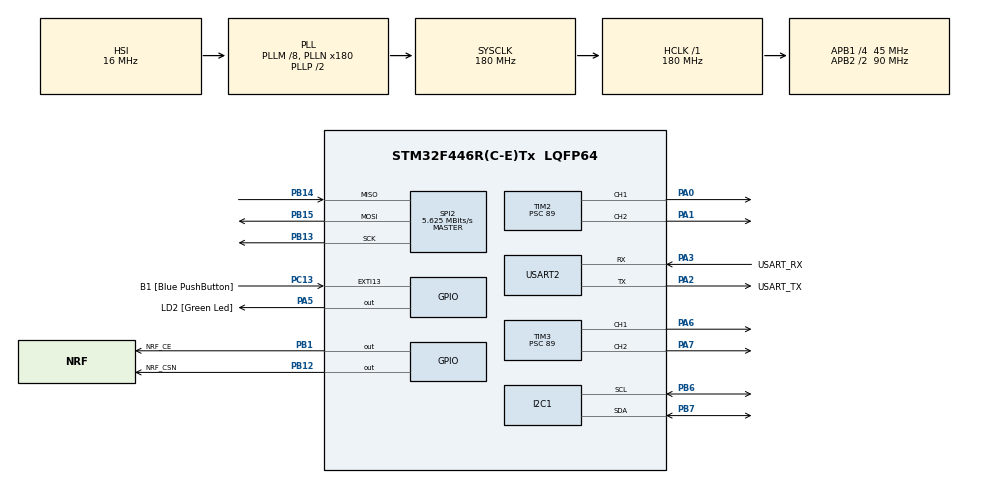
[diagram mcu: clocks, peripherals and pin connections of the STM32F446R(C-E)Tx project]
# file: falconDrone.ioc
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Dma.I2C1_RX.0.Direction=DMA_PERIPH_TO_MEMORY
Dma.I2C1_RX.0.FIFOMode=DMA_FIFOMODE_DISABLE
Dma.I2C1_RX.0.Instance=DMA1_Stream0
Dma.I2C1_RX.0.MemDataAlignment=DMA_MDATAALIGN_BYTE
Dma.I2C1_RX.0.MemInc=DMA_MINC_ENABLE
Dma.I2C1_RX.0.Mode=DMA_NORMAL
Dma.I2C1_RX.0.PeriphDataAlignment=DMA_PDATAALIGN_BYTE
Dma.I2C1_RX.0.PeriphInc=DMA_PINC_DISABLE
Dma.I2C1_RX.0.Priority=DMA_PRIORITY_HIGH
Dma.I2C1_TX.1.Direction=DMA_MEMORY_TO_PERIPH
Dma.I2C1_TX.1.FIFOMode=DMA_FIFOMODE_DISABLE
Dma.I2C1_TX.1.Instance=DMA1_Stream7
Dma.I2C1_TX.1.MemDataAlignment=DMA_MDATAALIGN_BYTE
Dma.I2C1_TX.1.MemInc=DMA_MINC_ENABLE
Dma.I2C1_TX.1.Mode=DMA_NORMAL
Dma.I2C1_TX.1.PeriphDataAlignment=DMA_PDATAALIGN_BYTE
Dma.I2C1_TX.1.PeriphInc=DMA_PINC_DISABLE
Dma.I2C1_TX.1.Priority=DMA_PRIORITY_HIGH
Dma.Request0=I2C1_RX
Dma.Request1=I2C1_TX
Dma.Request2=USART2_TX
Dma.USART2_TX.2.Direction=DMA_MEMORY_TO_PERIPH
Dma.USART2_TX.2.FIFOMode=DMA_FIFOMODE_DISABLE
Dma.USART2_TX.2.Instance=DMA1_Stream6
Dma.USART2_TX.2.MemDataAlignment=DMA_MDATAALIGN_BYTE
Dma.USART2_TX.2.MemInc=DMA_MINC_ENABLE
Dma.USART2_TX.2.Mode=DMA_NORMAL
Dma.USART2_TX.2.PeriphDataAlignment=DMA_PDATAALIGN_BYTE
Dma.USART2_TX.2.PeriphInc=DMA_PINC_DISABLE
Dma.USART2_TX.2.Priority=DMA_PRIORITY_LOW
FREERTOS.BinarySemaphores01=txCompleteSem,Dynamic,NULL,Available
FREERTOS.Queues01=logQueue,16,LogMessage_t,1,Dynamic,NULL,NULL
FREERTOS.Tasks01=defaultTask,24,256,StartDefaultTask,Default,NULL,Dynamic,NULL,NULL;IMUTask,48,512,StartIMUTask,Default,NULL,Dynamic,NULL,NULL;LogTask,8,256,StartLogTask,Default,NULL,Dynamic,NULL,NULL;ControlTask,40,768,StartControlTask,Default,NULL,Dynamic,NULL,NULL
FREERTOS.configENABLE_FPU=1
I2C1.I2C_Mode=I2C_Fast
Mcu.Family=STM32F4
Mcu.Name=STM32F446R(C-E)Tx
Mcu.Package=LQFP64
NVIC.DMA1_Stream0_IRQn=true\:5\:0\:false\:false\:true\:true\:false\:true\:true
NVIC.DMA1_Stream6_IRQn=true\:5\:0\:false\:false\:true\:true\:false\:true\:true
NVIC.DMA1_Stream7_IRQn=true\:5\:0\:false\:false\:true\:true\:false\:true\:true
NVIC.I2C1_ER_IRQn=true\:5\:0\:false\:false\:true\:true\:true\:true\:true
NVIC.I2C1_EV_IRQn=true\:5\:0\:false\:false\:true\:true\:true\:true\:true
NVIC.PriorityGroup=NVIC_PRIORITYGROUP_4
NVIC.TIM1_UP_TIM10_IRQn=true\:15\:0\:false\:false\:true\:false\:false\:true\:true
NVIC.TIM2_IRQn=true\:5\:0\:false\:false\:true\:true\:true\:true\:true
NVIC.TIM3_IRQn=true\:5\:0\:false\:false\:true\:true\:true\:true\:true
NVIC.TimeBase=TIM1_UP_TIM10_IRQn
NVIC.TimeBaseIP=TIM10
NVIC.USART2_IRQn=true\:5\:0\:false\:false\:true\:true\:true\:true\:true
PA0-WKUP.Signal=S_TIM2_CH1_ETR
PA1.Signal=S_TIM2_CH2
PA13.GPIO_Label=TMS
PA13.Mode=Serial_Wire
PA13.Signal=SYS_JTMS-SWDIO
PA14.GPIO_Label=TCK
PA14.Mode=Serial_Wire
PA14.Signal=SYS_JTCK-SWCLK
PA2.GPIO_Label=USART_TX
PA2.Mode=Asynchronous
PA2.Signal=USART2_TX
PA3.GPIO_Label=USART_RX
PA3.Mode=Asynchronous
PA3.Signal=USART2_RX
PA5.GPIO_Label=LD2 [Green Led]
PA5.Signal=GPIO_Output
PA6.Signal=S_TIM3_CH1
PA7.Signal=S_TIM3_CH2
PB1.GPIO_Label=NRF_CE
PB1.Signal=GPIO_Output
PB12.GPIO_Label=NRF_CSN
PB12.PinState=GPIO_PIN_SET
PB12.Signal=GPIO_Output
PB13.Mode=Full_Duplex_Master
PB13.Signal=SPI2_SCK
PB14.Mode=Full_Duplex_Master
PB14.Signal=SPI2_MISO
PB15.Mode=Full_Duplex_Master
PB15.Signal=SPI2_MOSI
PB3.GPIO_Label=SWO
PB3.Signal=SYS_JTDO-SWO
PB6.Mode=I2C
PB6.Signal=I2C1_SCL
PB7.Mode=I2C
PB7.Signal=I2C1_SDA
PC13.GPIO_Label=B1 [Blue PushButton]
PC13.GPIO_ModeDefaultEXTI=GPIO_MODE_IT_FALLING
PC13.Signal=GPXTI13
PC14-OSC32_IN.Mode=LSE-External-Oscillator
PC14-OSC32_IN.Signal=RCC_OSC32_IN
PC15-OSC32_OUT.Mode=LSE-External-Oscillator
PC15-OSC32_OUT.Signal=RCC_OSC32_OUT
PH0-OSC_IN.Mode=HSE-External-Oscillator
PH0-OSC_IN.Signal=RCC_OSC_IN
PH1-OSC_OUT.Mode=HSE-External-Oscillator
PH1-OSC_OUT.Signal=RCC_OSC_OUT
ProjectManager.HeapSize=0x200
ProjectManager.StackSize=0x400
ProjectManager.TargetToolchain=CMake
RCC.48MHZClocksFreq_Value=84000000
RCC.AHBFreq_Value=180000000
RCC.APB1CLKDivider=RCC_HCLK_DIV4
RCC.APB1Freq_Value=45000000
RCC.APB1TimFreq_Value=90000000
RCC.APB2CLKDivider=RCC_HCLK_DIV2
RCC.APB2Freq_Value=90000000
RCC.APB2TimFreq_Value=180000000
RCC.CortexFreq_Value=180000000
RCC.FLatency-AdvancedSettings=FLASH_LATENCY_5
RCC.HCLKFreq_Value=180000000
RCC.HSE_VALUE=8000000
RCC.HSI_VALUE=16000000
RCC.PLLM=8
RCC.PLLN=180
RCC.SYSCLKFreq_VALUE=180000000
RCC.SYSCLKSource=RCC_SYSCLKSOURCE_PLLCLK
RCC.USBFreq_Value=180000000
RCC.VCOOutputFreq_Value=360000000
SH.S_TIM2_CH1_ETR.0=TIM2_CH1,PWM Generation1 CH1
SH.S_TIM2_CH2.0=TIM2_CH2,PWM Generation2 CH2
SH.S_TIM3_CH1.0=TIM3_CH1,PWM Generation1 CH1
SH.S_TIM3_CH2.0=TIM3_CH2,PWM Generation2 CH2
SPI2.BaudRatePrescaler=SPI_BAUDRATEPRESCALER_8
SPI2.CalculateBaudRate=5.625 MBits/s
SPI2.Direction=SPI_DIRECTION_2LINES
SPI2.Mode=SPI_MODE_MASTER
SPI2.VirtualType=VM_MASTER
TIM2.Channel-PWM\ Generation1\ CH1=TIM_CHANNEL_1
TIM2.Channel-PWM\ Generation2\ CH2=TIM_CHANNEL_2
TIM2.Period=2499
TIM2.Prescaler=89
TIM3.Channel-PWM\ Generation1\ CH1=TIM_CHANNEL_1
TIM3.Channel-PWM\ Generation2\ CH2=TIM_CHANNEL_2
TIM3.Period=2499
TIM3.Prescaler=89
USART2.VirtualMode=VM_ASYNC
VP_FREERTOS_VS_CMSIS_V2.Mode=CMSIS_V2
VP_SYS_VS_tim10.Mode=TIM10
VP_TIM2_VS_ClockSourceINT.Mode=Internal
VP_TIM3_VS_ClockSourceINT.Mode=Internal
board=NUCLEO-F446RE

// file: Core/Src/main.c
/* USER CODE BEGIN Header */
/**
  ******************************************************************************
  * @file           : main.c
  * @brief          : Main program body
  ******************************************************************************
  * @attention
  *
  * Copyright (c) 2026 STMicroelectronics.
  * All rights reserved.
  *
  * This software is licensed under terms that can be found in the LICENSE file
  * in the root directory of this software component.
  * If no LICENSE file comes with this software, it is provided AS-IS.
  *
  ******************************************************************************
  */
/* USER CODE END Header */
#include "main.h"
#include "cmsis_os.h"
#include "dma.h"
#include "i2c.h"
#include "spi.h"
#include "tim.h"
#include "usart.h"
#include "gpio.h"

/* USER CODE BEGIN Includes */
#include "cmsis_os2.h"
/* USER CODE END Includes */

void SystemClock_Config(void);
void MX_FREERTOS_Init(void);

/* USER CODE BEGIN 0 */
#include <stdio.h>
#include "usart.h"
#include "logger.h"
#include "uart_cmd.h"
#include "imu_service.h"
#include "reset_info.h"
#include "watchdog.h"

/* One-byte USART2 RX buffer for PC commands (re-armed after every byte). */
static uint8_t s_uart_rx_byte;

/* Keep blocking _write for startup messages only */
int _write(int file, char *ptr, int len) {
    HAL_UART_Transmit(&huart2, (uint8_t*)ptr, len, HAL_MAX_DELAY);
    return len;
}

/**
 * @brief UART TX Complete Callback - signals logger that DMA finished.
 */
void HAL_UART_TxCpltCallback(UART_HandleTypeDef *huart) {
    if (huart->Instance == USART2) {
        Log_TxComplete();
    }
}

/**
 * @brief UART RX Complete Callback - PC commands from telemetry.py.
 *
 * Bytes go to uart_cmd.c: 'd' / ' ' disarm at once, '$...\n' lines are
 * parsed later in ControlTask. Arming is deliberately NOT possible from the
 * PC — it needs the physical B1 hold.
 */
void HAL_UART_RxCpltCallback(UART_HandleTypeDef *huart) {
    if (huart->Instance == USART2) {
        UartCmd_OnRxByte(s_uart_rx_byte);
        HAL_UART_Receive_IT(&huart2, &s_uart_rx_byte, 1);
    }
}

/**
 * @brief UART Error Callback - an overrun/framing error aborts the RX
 *        transfer, so restart it or PC commands would stop working.
 */
void HAL_UART_ErrorCallback(UART_HandleTypeDef *huart) {
    if (huart->Instance == USART2 && huart->RxState == HAL_UART_STATE_READY) {
        HAL_UART_Receive_IT(&huart2, &s_uart_rx_byte, 1);
    }
}

void HAL_I2C_MemRxCpltCallback(I2C_HandleTypeDef *hi2c) {
    imuOnI2cRxComplete(hi2c);
}

/**
 * @brief I2C Error Callback — the IMU service discards the read and recovers.
 */
void HAL_I2C_ErrorCallback(I2C_HandleTypeDef *hi2c) {
    imuOnI2cError(hi2c);
}
/* USER CODE END 0 */

int main(void)
{

  /* USER CODE BEGIN 1 */
  /* Before anything can clear the RCC reset flags. */
  ResetInfo_Capture();

  /* USER CODE END 1 */

  /* MCU Configuration--------------------------------------------------------*/

  /* Reset of all peripherals, Initializes the Flash interface and the Systick. */
  HAL_Init();

  /* Configure the system clock */
  SystemClock_Config();

  /* USER CODE BEGIN SysInit */
  ResetInfo_EnsureBrownoutLevel();

  /* USER CODE END SysInit */

  /* Initialize all configured peripherals */
  MX_GPIO_Init();
  MX_DMA_Init();
  MX_I2C1_Init();
  MX_TIM2_Init();
  MX_TIM3_Init();
  MX_USART2_UART_Init();
  MX_SPI2_Init();
  /* USER CODE BEGIN 2 */
  HAL_UART_Receive_IT(&huart2, &s_uart_rx_byte, 1);
  /* USER CODE END 2 */

  /* Init scheduler */
  osKernelInitialize();  /* Call init function for freertos objects (in cmsis_os2.c) */
  MX_FREERTOS_Init();

  /* Start scheduler */
  osKernelStart();

  /* We should never get here as control is now taken by the scheduler */

  /* Infinite loop */
  while (1)
  {

  }
}

void SystemClock_Config(void)
{
  RCC_OscInitTypeDef RCC_OscInitStruct = {0};
  RCC_ClkInitTypeDef RCC_ClkInitStruct = {0};

  /** Configure the main internal regulator output voltage
  */
  __HAL_RCC_PWR_CLK_ENABLE();
  __HAL_PWR_VOLTAGESCALING_CONFIG(PWR_REGULATOR_VOLTAGE_SCALE1);

  /** Initializes the RCC Oscillators according to the specified parameters
  * in the RCC_OscInitTypeDef structure.
  */
  RCC_OscInitStruct.OscillatorType = RCC_OSCILLATORTYPE_HSI;
  RCC_OscInitStruct.HSIState = RCC_HSI_ON;
  RCC_OscInitStruct.HSICalibrationValue = RCC_HSICALIBRATION_DEFAULT;
  RCC_OscInitStruct.PLL.PLLState = RCC_PLL_ON;
  RCC_OscInitStruct.PLL.PLLSource = RCC_PLLSOURCE_HSI;
  RCC_OscInitStruct.PLL.PLLM = 8;
  RCC_OscInitStruct.PLL.PLLN = 180;
  RCC_OscInitStruct.PLL.PLLP = RCC_PLLP_DIV2;
  RCC_OscInitStruct.PLL.PLLQ = 2;
  RCC_OscInitStruct.PLL.PLLR = 2;
  if (HAL_RCC_OscConfig(&RCC_OscInitStruct) != HAL_OK)
  {
    Error_Handler();
  }

  /** Activate the Over-Drive mode
  */
  if (HAL_PWREx_EnableOverDrive() != HAL_OK)
  {
    Error_Handler();
  }

  /** Initializes the CPU, AHB and APB buses clocks
  */
  RCC_ClkInitStruct.ClockType = RCC_CLOCKTYPE_HCLK|RCC_CLOCKTYPE_SYSCLK
                              |RCC_CLOCKTYPE_PCLK1|RCC_CLOCKTYPE_PCLK2;
  RCC_ClkInitStruct.SYSCLKSource = RCC_SYSCLKSOURCE_PLLCLK;
  RCC_ClkInitStruct.AHBCLKDivider = RCC_SYSCLK_DIV1;
  RCC_ClkInitStruct.APB1CLKDivider = RCC_HCLK_DIV4;
  RCC_ClkInitStruct.APB2CLKDivider = RCC_HCLK_DIV2;

  if (HAL_RCC_ClockConfig(&RCC_ClkInitStruct, FLASH_LATENCY_5) != HAL_OK)
  {
    Error_Handler();
  }
}

void HAL_TIM_PeriodElapsedCallback(TIM_HandleTypeDef *htim)
{
  if (htim->Instance == TIM10)
  {
    HAL_IncTick();
  }
}

void Error_Handler(void)
{
  __disable_irq();
  while (1)
  {
  }
}

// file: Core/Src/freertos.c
/* USER CODE BEGIN Header */
/**
  ******************************************************************************
  * File Name          : freertos.c
  * Description        : Code for freertos applications
  ******************************************************************************
  * @attention
  *
  * Copyright (c) 2026 STMicroelectronics.
  * All rights reserved.
  *
  * This software is licensed under terms that can be found in the LICENSE file
  * in the root directory of this software component.
  * If no LICENSE file comes with this software, it is provided AS-IS.
  *
  ******************************************************************************
  */
/* USER CODE END Header */

#include "FreeRTOS.h"
#include "task.h"
#include "main.h"
#include "cmsis_os.h"

/* USER CODE BEGIN Includes */
#include "imu_service.h"
#include "i2c.h"
#include "logger.h"
#include "pwm_esc.h"
#include "flight_ctrl.h"
#include "flight_input.h"
#include "uart_cmd.h"
#include "arming.h"
#include "rc_service.h"
#include "tuning.h"
#include "flight_cfg.h"
#include "watchdog.h"
#include "reset_info.h"
#include "gpio.h"
/* USER CODE END Includes */

/* Definitions for defaultTask */
osThreadId_t defaultTaskHandle;
const osThreadAttr_t defaultTask_attributes = {
  .name = "defaultTask",
  .stack_size = 256 * 4,
  .priority = (osPriority_t) osPriorityNormal,
};
/* Definitions for IMUTask */
osThreadId_t IMUTaskHandle;
const osThreadAttr_t IMUTask_attributes = {
  .name = "IMUTask",
  .stack_size = 512 * 4,
  .priority = (osPriority_t) osPriorityRealtime,
};
/* Definitions for LogTask */
osThreadId_t LogTaskHandle;
const osThreadAttr_t LogTask_attributes = {
  .name = "LogTask",
  .stack_size = 256 * 4,
  .priority = (osPriority_t) osPriorityLow,
};
/* Definitions for ControlTask */
osThreadId_t ControlTaskHandle;
const osThreadAttr_t ControlTask_attributes = {
  .name = "ControlTask",
  .stack_size = 768 * 4,
  .priority = (osPriority_t) osPriorityHigh,
};
/* Definitions for logQueue */
osMessageQueueId_t logQueueHandle;
const osMessageQueueAttr_t logQueue_attributes = {
  .name = "logQueue"
};
/* Definitions for txCompleteSem */
osSemaphoreId_t txCompleteSemHandle;
const osSemaphoreAttr_t txCompleteSem_attributes = {
  .name = "txCompleteSem"
};

/* USER CODE BEGIN FunctionPrototypes */
static void ControlTask_Run(void);
/* USER CODE END FunctionPrototypes */

void StartDefaultTask(void *argument);
void StartIMUTask(void *argument);
void StartLogTask(void *argument);
void StartControlTask(void *argument);

void MX_FREERTOS_Init(void); /* (MISRA C 2004 rule 8.1) */

void MX_FREERTOS_Init(void) {

  /* Create the semaphores(s) */
  /* creation of txCompleteSem */
  txCompleteSemHandle = osSemaphoreNew(1, 1, &txCompleteSem_attributes);

  /* USER CODE BEGIN RTOS_SEMAPHORES */
  /* IMU service owns its DMA semaphore and sample mailbox. Created here so
   * they exist before any task can touch them. */
  imuCreate(&hi2c1);
  /* USER CODE END RTOS_SEMAPHORES */

  /* Create the queue(s) */
  /* creation of logQueue */
  logQueueHandle = osMessageQueueNew (16, sizeof(LogMessage_t), &logQueue_attributes);

  /* Create the thread(s) */
  /* creation of defaultTask */
  defaultTaskHandle = osThreadNew(StartDefaultTask, NULL, &defaultTask_attributes);

  /* creation of IMUTask */
  IMUTaskHandle = osThreadNew(StartIMUTask, NULL, &IMUTask_attributes);

  /* creation of LogTask */
  LogTaskHandle = osThreadNew(StartLogTask, NULL, &LogTask_attributes);

  /* creation of ControlTask */
  ControlTaskHandle = osThreadNew(StartControlTask, NULL, &ControlTask_attributes);

}

void StartDefaultTask(void *argument)
{
  /* USER CODE BEGIN StartDefaultTask */
  ResetInfo_Report();

  /* Watchdog supervisor + LD2 heartbeat (doubles as the arm-state
   * indicator: slow = DISARMED, medium = ARMING, fast = ARMED).
   * Runs at Normal priority, below IMU and Control, so if either of them
   * hogs the CPU this loop starves and the IWDG fires. */
  uint32_t last_toggle = osKernelGetTickCount();
  for(;;)
  {
    const uint32_t now = osKernelGetTickCount();
    Watchdog_Supervise(now);

    uint32_t blink_ms;
    switch (Arming_GetState()) {
    case ARM_STATE_ARMED:  blink_ms = 100;  break;
    case ARM_STATE_ARMING: blink_ms = 250;  break;
    default:               blink_ms = 1000; break;
    }
    if (now - last_toggle >= blink_ms) {
      HAL_GPIO_TogglePin(LD2_GPIO_Port, LD2_Pin);
      last_toggle = now;
    }

    osDelay(WATCHDOG_SUPERVISE_PERIOD_MS);
  }
  /* USER CODE END StartDefaultTask */
}

void StartIMUTask(void *argument)
{
  /* USER CODE BEGIN StartIMUTask */

  /* Fixed 100 Hz read / fuse / publish loop — never returns. */
  imuTaskRun();
  /* USER CODE END StartIMUTask */
}

void StartLogTask(void *argument)
{
  /* USER CODE BEGIN StartLogTask */
  /* Infinite loop */
  for(;;)
  {
    Log_ProcessQueue();
  }
  /* USER CODE END StartLogTask */
}

void StartControlTask(void *argument)
{
  /* USER CODE BEGIN StartControlTask */

  /* Attitude control loop (below) — never returns. */
  ControlTask_Run();
  /* USER CODE END StartControlTask */
}

/* USER CODE BEGIN Application */

/*
 * ControlTask — cascaded attitude controller (flight_ctrl.c).
 *
 * Synchronous with the IMU: blocks on the IMU mailbox, runs once per
 * fresh sample. 100 Hz (IMU_PERIOD_MS).
 *
 * Pipeline each tick:
 *   1. Wait for the next IMU sample (by-value copy from the mailbox)
 *   2. dt from the sample timestamps (exact multiples of IMU_PERIOD_MS)
 *   3. Radio (rc_service.c) — newest controller packet, link state
 *   4. Arming state machine (arming.c) — controller ARM switch / B1 / PC /
 *      failsafes; the controller's mode switch while disarmed
 *   5. PC line commands (uart_cmd.c) — throttle, mode, gains, trim
 *   6. If ARMED: pilot input (radio, or $t from the PC when no radio) →
 *      FlightInput (throttle ramp) → FlightCtrl (angle loop in ANGLE mode →
 *      rate PIDs → mixer). Otherwise: motors at ESC_MIN_US, PID state and
 *      throttle cleared.
 *   7. ESC_SetAllMotors
 *
 * Boot state is DISARMED: motors stay at ESC_MIN_US until the controller's
 * ARM switch goes OFF→ON (or B1 is held 2 s). Every arm starts at
 * ESC_MIN_US.
 *
 * Pilot source: the radio while its link is UP, otherwise the PC ($t).
 * A change of source while armed disarms — that covers the failsafe (radio
 * lost for RC_LINK_TIMEOUT_MS) and stops a controller that connects
 * mid-flight from taking over with its slider wherever it happens to be.
 */

typedef struct {
    uint8_t  rc_up;     /* 1 = radio is the pilot source this tick */
    RcPacket rc;        /* newest packet, valid when rc_up         */
} PilotInput;

static uint16_t s_reported_throttle_us = ESC_MIN_US;

/* Poll the radio, apply the source-change failsafe, run the arming step. */
static ArmState_t pilot_and_arming(uint32_t now_ms, const IMUData *imu, PilotInput *pilot)
{
    static uint8_t prev_rc_up = 0;

    const RcAck status = {
        .arm_state   = (uint8_t)Arming_GetState(),
        .mode        = (uint8_t)FlightCtrl_GetMode(),
        .throttle_us = s_reported_throttle_us,
    };
    pilot->rc_up = (RcService_Poll(now_ms, &status, &pilot->rc) == RC_LINK_UP);

    if (pilot->rc_up != prev_rc_up && Arming_GetState() != ARM_STATE_DISARMED) {
        Arming_Disarm(pilot->rc_up ? "controller connected while armed"
                                   : "radio link lost");
    }
    prev_rc_up = pilot->rc_up;

    /* B1 (PC13) has an external pull-up: idle high, pressed = low. */
    const uint8_t b1_pressed =
        (HAL_GPIO_ReadPin(B1_GPIO_Port, B1_Pin) == GPIO_PIN_RESET);

    const ArmInputs in = {
        .button       = b1_pressed,
        .has_switch   = pilot->rc_up,
        .arm_switch   = pilot->rc_up && (pilot->rc.flags & RC_FLAG_ARM) != 0u,
        .throttle_low = !pilot->rc_up || pilot->rc.throttle <= RC_THROTTLE_ARM_MAX,
    };
    const ArmState_t arm = Arming_Update(now_ms, &in, imu);

    /* Mode switch: applied only while disarmed, so flipping it in flight
     * waits for the next landing. */
    if (pilot->rc_up && arm == ARM_STATE_DISARMED) {
        const FlightMode_t want = (pilot->rc.flags & RC_FLAG_ANGLE) ? FLIGHT_MODE_ANGLE
                                                                    : FLIGHT_MODE_RATE;
        if (want != FlightCtrl_GetMode()) {
            FlightCtrl_SetMode(want);
            Log_Printf("[MODE] %s (controller switch)\r\n",
                       want == FLIGHT_MODE_ANGLE ? "ANGLE" : "RATE");
        }
    }
    UartCmd_Poll(arm, now_ms);
    return arm;
}

static void ControlTask_Run(void)
{
    FlightCtrl_Init();
    ESC_Init();

    /* Hold idle pulse while ESCs run their startup beep sequence. */
    osDelay(ESC_ARM_DELAY_MS);
    Log_Print("ESC ready — DISARMED. Hold B1 or the controller button 2 s to arm.\r\n");

    /* Long past the nRF24's 100 ms power-on reset. */
    RcService_Init(osKernelGetTickCount());

    uint32_t last_sample_ms = 0;
    uint32_t log_div   = 0;   /* decimate telemetry to 50 Hz — 100 Hz overruns the queue */

    for (;;)
    {
        Watchdog_CheckIn(WDG_CONTROL);

        /* Watchdog bench test ('h' from the PC, Debug builds): stop checking
         * in while the motors are at idle. Expect an IWDG reset ~0.5 s later. */
        if (Watchdog_TestHangRequested() && Arming_GetState() == ARM_STATE_DISARMED) {
            Log_Print("[WDG] Test: ControlTask hanging on purpose\r\n");
            for (;;) {
                osDelay(1000);
            }
        }

        PilotInput pilot;

        /* Block on fresh IMU sample. 100 ms timeout = fail-safe to idle
         * (Arming_Update disarms on a NULL sample while ARMED). */
        IMUData s;
        if (!imuWaitSample(&s, 100)) {
            const uint32_t now = osKernelGetTickCount();
            const ArmState_t arm = pilot_and_arming(now, NULL, &pilot);
            Tuning_Tick(now, arm, NULL, NULL);   /* aborts a running test */
            ESC_SetAllMotors(ESC_MIN_US, ESC_MIN_US, ESC_MIN_US, ESC_MIN_US);
            FlightCtrl_Idle(NULL);
            FlightInput_Reset();
            s_reported_throttle_us = ESC_MIN_US;
            continue;
        }

        /* Sample timestamps are scheduled slot times, so dt is exact —
         * 10 ms normally, 20 ms if the IMU dropped one read. */
        const uint32_t now = s.t_ms;
        float dt = (float)(now - last_sample_ms) / 1000.0f;
        last_sample_ms = now;
        if (dt <= 0.0f || dt > 0.1f) dt = IMU_PERIOD_MS / 1000.0f;  /* first sample / after a gap */

        const ArmState_t arm = pilot_and_arming(now, &s, &pilot);

        uint16_t motors[4] = { ESC_MIN_US, ESC_MIN_US, ESC_MIN_US, ESC_MIN_US };
        FlightCmd cmd = { .throttle_us = (float)ESC_MIN_US };
        FlightCtrlDebug dbg = { 0 };

        if (arm == ARM_STATE_ARMED) {
            if (pilot.rc_up) {
                FlightInput_SetThrottle((float)ESC_MIN_US +
                    RcLink_Throttle(pilot.rc.throttle) * (THROTTLE_MAX_US - (float)ESC_MIN_US));
                FlightInput_SetSticks(RcLink_Axis(pilot.rc.roll),
                                      RcLink_Axis(pilot.rc.pitch),
                                      RcLink_Axis(pilot.rc.yaw));
            }
            cmd = FlightInput_Get(dt);
            Tuning_Tick(now, arm, &s, &cmd);     /* may override one axis setpoint */
            FlightCtrl_Update(&s, &cmd, dt, motors, &dbg);
        } else {
            /* Not armed: clean PID state and idle throttle for the next arm. */
            Tuning_Tick(now, arm, &s, NULL);
            FlightCtrl_Idle(&s);
            FlightInput_Reset();
        }
        s_reported_throttle_us = (uint16_t)cmd.throttle_us;

        ESC_SetAllMotors(motors[0], motors[1], motors[2], motors[3]);

        /* Tuning log (100 Hz, one axis) replaces the CSV while it is on. */
        if (Tuning_Log(now, &s, &cmd, &dbg, motors)) {
            continue;
        }

        /* Telemetry — one CSV line every 2 ticks (~50 Hz).
         * 100 Hz overruns the 16-deep log queue during motion bursts (~33%
         * loss observed). 50 Hz drains comfortably under UART 115200.
         * Format: t_ms,roll,pitch,gx,gy,gz,m1,m2,m3,m4,arm,thr,mode,rsp,psp
         * arm: 0 = disarmed, 1 = armed, 2 = arming
         * mode: 0 = rate, 1 = angle
         * rsp/psp: roll/pitch rate setpoints sent to the rate loop, deg/s */
        if ((++log_div & 0x1) == 0u) {
            Log_Printf("%lu,%.1f,%.1f,%.1f,%.1f,%.1f,%u,%u,%u,%u,%u,%u,%u,%.1f,%.1f\r\n",
                       (unsigned long)now,
                       s.roll,   s.pitch,
                       s.gyro_x, s.gyro_y, s.gyro_z,
                       motors[0], motors[1], motors[2], motors[3],
                       (unsigned)arm,
                       (unsigned)cmd.throttle_us,
                       (unsigned)FlightCtrl_GetMode(),
                       dbg.roll_rate_sp, dbg.pitch_rate_sp);
        }
    }
}

/* USER CODE END Application */
